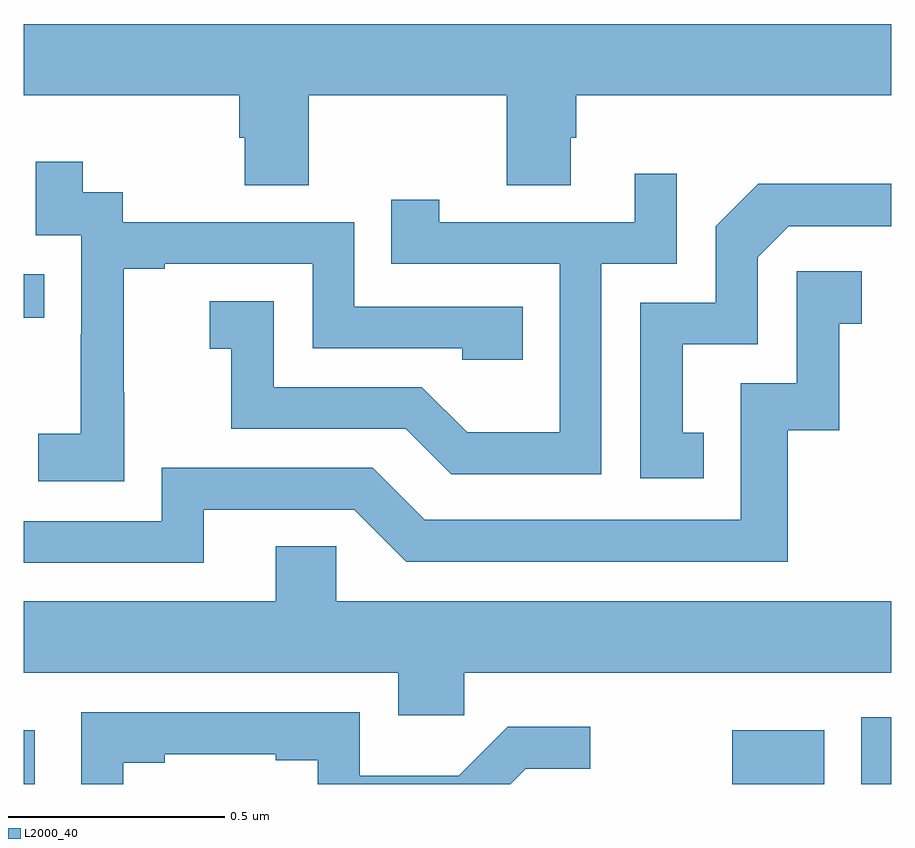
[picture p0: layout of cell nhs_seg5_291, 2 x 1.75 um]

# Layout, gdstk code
import gdstk
lib = gdstk.Library(unit=1e-6, precision=1e-09)
def R(c, l, rs):  # rectangles x0, y0, x1, y1
    for r in rs: c.add(gdstk.rectangle(r[:2], r[2:], *l))
def P(c, l, *ps):  # polygons
    for p in ps: c.add(gdstk.Polygon(p, *l))
L2000_40 = (2000, 40)

nhs_seg5_291 = lib.new_cell('nhs_seg5_291')
R(nhs_seg5_291, L2000_40, [(114,893.799,114.025,893.923), (115.634,893.799,115.846,893.923), (115.931,893.799,116,893.953), (114,894.874,114.047,894.975)])
P(nhs_seg5_291, L2000_40, [(114.657,895.388),(115.114,895.388),(115.114,895.18),(115.261,895.18),(115.261,895.29),(115.274,895.29),(115.274,895.388),(116,895.388),(116,895.552),(114,895.552),(114,895.388),(114.497,895.388),(114.497,895.29),(114.509,895.29),(114.509,895.18),(114.657,895.18)],
  [(114.231,894.703),(114.23,894.703),(114.23,894.987),(114.325,894.987),(114.325,894.999),(114.666,894.999),(114.666,894.804),(115.011,894.804),(115.011,894.777),(115.151,894.777),(115.151,894.9),(114.762,894.9),(114.762,895.095),(114.228,895.095),(114.228,895.164),(114.136,895.164),(114.136,895.234),(114.027,895.234),(114.027,895.065),(114.132,895.065),(114.132,894.836),(114.131,894.836),(114.131,894.607),(114.033,894.607),(114.033,894.497),(114.231,894.497)],
  [(115.332,894.999),(115.506,894.999),(115.506,895.207),(115.409,895.207),(115.409,895.095),(114.958,895.095),(114.958,895.147),(114.847,895.147),(114.847,894.999),(115.236,894.999),(115.236,894.61),(115.022,894.61),(114.918,894.714),(114.576,894.714),(114.576,894.913),(114.429,894.913),(114.429,894.803),(114.478,894.803),(114.478,894.618),(114.881,894.618),(114.986,894.513),(115.332,894.513)],
  [(115.568,894.609),(115.519,894.609),(115.519,894.813),(115.692,894.813),(115.692,895.014),(115.764,895.086),(116,895.086),(116,895.184),(115.694,895.184),(115.596,895.086),(115.596,894.909),(115.422,894.909),(115.422,894.504),(115.568,894.504)],
  [(114.415,894.432),(114.762,894.432),(114.882,894.312),(115.762,894.312),(115.762,894.615),(115.88,894.615),(115.88,894.861),(115.933,894.861),(115.933,894.982),(115.782,894.982),(115.782,894.723),(115.653,894.723),(115.653,894.408),(114.924,894.408),(114.804,894.528),(114.318,894.528),(114.318,894.405),(114,894.405),(114,894.309),(114.415,894.309)],
  [(115.015,894.056),(116,894.056),(116,894.22),(114.72,894.22),(114.72,894.347),(114.581,894.347),(114.581,894.22),(114,894.22),(114,894.056),(114.863,894.056),(114.863,893.958),(115.015,893.958)],
  [(114.229,893.848),(114.325,893.848),(114.325,893.868),(114.581,893.868),(114.581,893.854),(114.678,893.854),(114.678,893.799),(115.122,893.799),(115.157,893.834),(115.306,893.834),(115.306,893.931),(115.116,893.931),(115.003,893.818),(114.774,893.818),(114.774,893.964),(114.132,893.964),(114.132,893.799),(114.229,893.799)])

lib.write_gds('nhs_seg5_291.gds')
